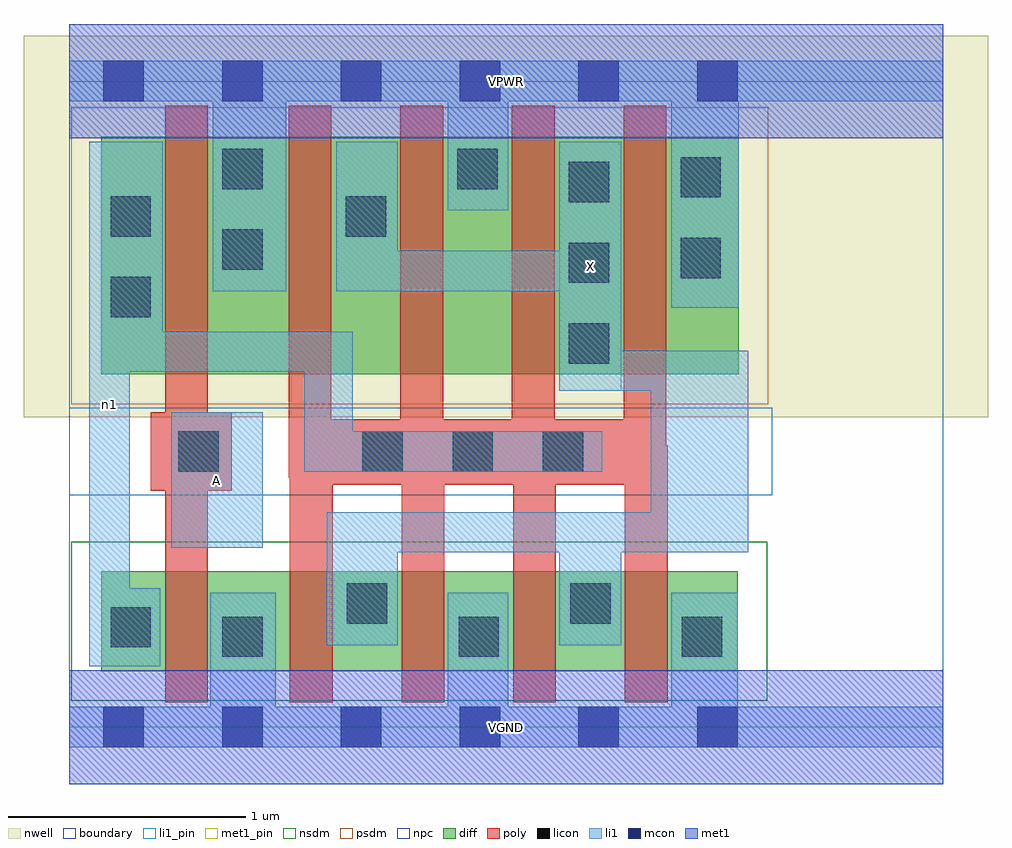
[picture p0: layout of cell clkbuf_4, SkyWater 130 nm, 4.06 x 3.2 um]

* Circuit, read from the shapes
.subckt clkbuf_4 A VGND VPWR X n1
XM1 VGND A n1 VSUBS sky130_fd_pr__nfet_01v8 w=0.42 l=0.18
XM2 X n1 VGND VSUBS sky130_fd_pr__nfet_01v8 w=0.42 l=0.18 m=4
XM3 VPWR A n1 n2 sky130_fd_pr__pfet_01v8 w=1 l=0.18
XM4 X n1 VPWR n2 sky130_fd_pr__pfet_01v8 w=1 l=0.18 m=4
.ends

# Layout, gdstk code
import gdstk
lib = gdstk.Library(unit=1e-6, precision=1e-09)
def R(c, l, rs):  # rectangles x0, y0, x1, y1
    for r in rs: c.add(gdstk.rectangle(r[:2], r[2:], *l))
def A(c, l, x, y, w, h, nx, ny, dx, dy):  # array of equal rectangles
    R(c, l, [(x+i*dx, y+j*dy, x+i*dx+w, y+j*dy+h) for i in range(nx) for j in range(ny)])
nwell = (64, 20)
diff = (65, 20)
poly = (66, 20)
licon = (66, 44)
li1_pin = (67, 16)
li1 = (67, 20)
mcon = (67, 44)
met1_pin = (68, 16)
met1 = (68, 20)
nsdm = (93, 44)
psdm = (94, 20)
npc = (95, 20)
boundary = (235, 4)

clkbuf_4 = lib.new_cell('clkbuf_4')
R(clkbuf_4, nwell, [(-0.19,1.305,3.87,2.91), (0,1.305,3.68,2.91)])
R(clkbuf_4, diff, [(0.135,0.235,2.815,0.655), (0.135,1.485,2.82,2.485)])
A(clkbuf_4, poly, 0.93, 0.105, 0.18, 1.19, 3, 1, 0.47, 0)
A(clkbuf_4, poly, 1.395, 1.02, 0.18, 1.595, 3, 1, 0.47, 0)
R(clkbuf_4, poly, [(0.405,0.105,0.585,2.615), (2.34,0.105,2.52,1.185), (0.345,0.995,0.685,1.325), (0.93,1.02,2.515,1.295), (0.925,1.05,1.105,2.615)])
A(clkbuf_4, licon, 1.235, 1.075, 0.17, 0.17, 3, 1, 0.38, 0)
A(clkbuf_4, licon, 2.105, 1.53, 0.17, 0.17, 1, 3, 0, 0.34)
R(clkbuf_4, licon, [(0.645,0.295,0.815,0.465), (1.64,0.295,1.81,0.465), (2.58,0.295,2.75,0.465), (0.175,0.335,0.345,0.505), (1.17,0.435,1.34,0.605), (2.11,0.435,2.28,0.605), (0.46,1.075,0.63,1.245), (0.175,1.725,0.345,1.895), (2.575,1.89,2.745,2.06), (0.645,1.925,0.815,2.095), (0.175,2.065,0.345,2.235), (1.165,2.065,1.335,2.235), (2.575,2.23,2.745,2.4), (0.645,2.265,0.815,2.435), (1.635,2.265,1.805,2.435)])
R(clkbuf_4, li1_pin, [(0.43,0.755,0.815,1.325), (2.065,1.415,2.325,2.465)])
R(clkbuf_4, li1, [(0,-0.085,3.68,0.085), (0.595,-0.085,0.87,0.565), (1.595,-0.085,1.85,0.565), (2.535,-0.085,2.815,0.565), (0.085,0.255,0.255,2.465), (0.085,0.255,0.385,0.585), (1.085,0.345,1.385,0.905), (2.065,0.345,2.325,0.905), (1.085,0.735,2.86,0.905), (2.45,0.735,2.86,1.585), (0.43,0.755,0.815,1.325), (0.99,1.075,2.245,1.245), (0.99,1.075,1.195,1.665), (2.065,1.415,2.325,2.465), (2.065,1.415,2.86,1.585), (0.085,1.495,1.195,1.665), (0.085,1.495,0.395,2.465), (2.535,1.765,2.82,2.805), (0.605,1.835,0.915,2.805), (1.125,1.835,1.385,2.465), (1.125,1.835,2.325,2.005), (1.595,2.175,1.85,2.805), (0,2.635,3.68,2.805)])
A(clkbuf_4, mcon, 0.145, -0.085, 0.17, 0.17, 6, 2, 0.5, 2.72)
R(clkbuf_4, met1_pin, [(0,-0.24,3.68,0.24), (0,2.48,3.68,2.96)])
R(clkbuf_4, met1, [(0,-0.24,3.68,0.24), (0,2.48,3.68,2.96)])
R(clkbuf_4, nsdm, [(0.01,0.11,2.94,0.78)])
R(clkbuf_4, psdm, [(0.01,1.36,2.945,2.61)])
R(clkbuf_4, npc, [(0,0.975,2.96,1.345)])
R(clkbuf_4, boundary, [(0,0,3.68,2.72)])
clkbuf_4.add(gdstk.Label('A', (0.622,1.04), layer=67, texttype=5))
clkbuf_4.add(gdstk.Label('X', (2.195,1.94), layer=67, texttype=5))
clkbuf_4.add(gdstk.Label('n1', (0.17,1.36), layer=67, texttype=5))
clkbuf_4.add(gdstk.Label('VPWR', (1.84,2.72), layer=68, texttype=5))
clkbuf_4.add(gdstk.Label('VGND', (1.84,0), layer=68, texttype=5))
clkbuf_4.add(gdstk.Label('A', (0.622,1.04), layer=67, texttype=16))
clkbuf_4.add(gdstk.Label('X', (2.195,1.94), layer=67, texttype=16))
clkbuf_4.add(gdstk.Label('VPWR', (1.84,2.72), layer=68, texttype=16))
clkbuf_4.add(gdstk.Label('VGND', (1.84,0), layer=68, texttype=16))

lib.write_gds('clkbuf_4.gds')
